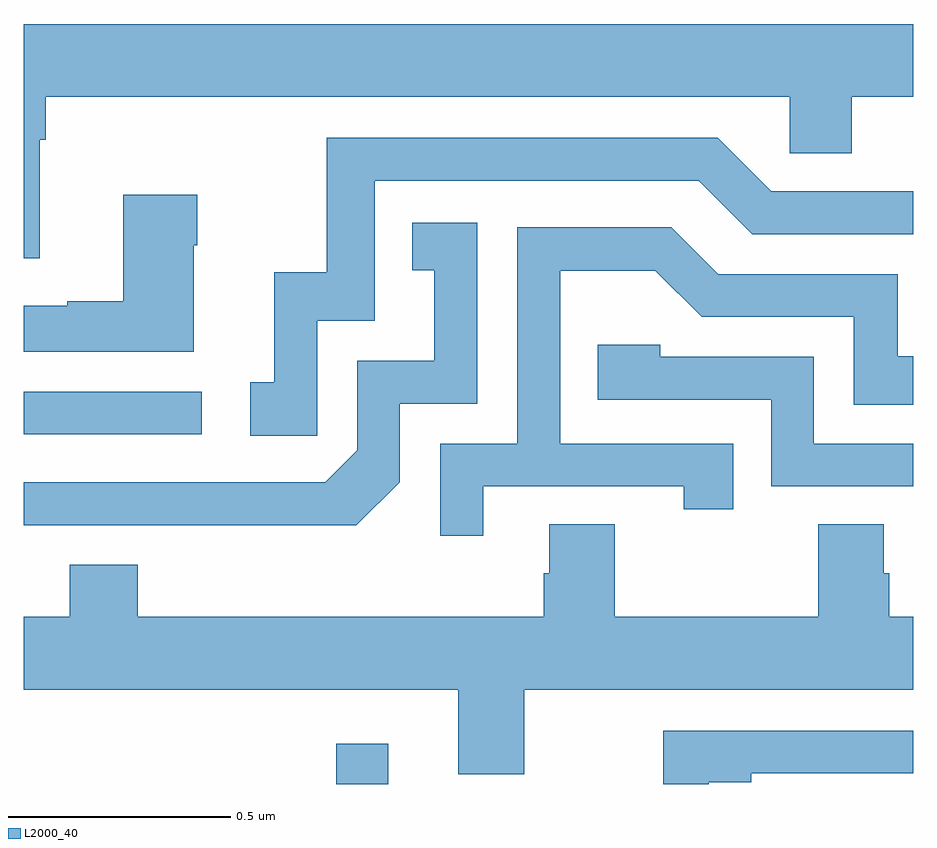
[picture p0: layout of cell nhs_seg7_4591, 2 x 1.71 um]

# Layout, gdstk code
import gdstk
lib = gdstk.Library(unit=1e-6, precision=1e-09)
def R(c, l, rs):  # rectangles x0, y0, x1, y1
    for r in rs: c.add(gdstk.rectangle(r[:2], r[2:], *l))
def P(c, l, *ps):  # polygons
    for p in ps: c.add(gdstk.Polygon(p, *l))
L2000_40 = (2000, 40)

nhs_seg7_4591 = lib.new_cell('nhs_seg7_4591')
R(nhs_seg7_4591, L2000_40, [(174.703,1071,174.82,1071.091), (174,1071.786,174.4,1071.882)])
P(nhs_seg7_4591, L2000_40, [(174.037,1072.448),(174.05,1072.448),(174.05,1072.544),(175.722,1072.544),(175.722,1072.417),(175.861,1072.417),(175.861,1072.544),(176,1072.544),(176,1072.708),(174,1072.708),(174,1072.182),(174.037,1072.182)],
  [(174.66,1072.041),(174.789,1072.041),(174.789,1072.356),(175.518,1072.356),(175.638,1072.236),(176,1072.236),(176,1072.332),(175.68,1072.332),(175.56,1072.452),(174.681,1072.452),(174.681,1072.15),(174.563,1072.15),(174.563,1071.903),(174.51,1071.903),(174.51,1071.783),(174.66,1071.783)],
  [(174.382,1072.211),(174.39,1072.211),(174.39,1072.324),(174.224,1072.324),(174.224,1072.085),(174.098,1072.085),(174.098,1072.075),(174,1072.075),(174,1071.971),(174.382,1071.971)],
  [(174.846,1071.678),(174.846,1071.855),(175.02,1071.855),(175.02,1072.261),(174.874,1072.261),(174.874,1072.155),(174.923,1072.155),(174.923,1071.951),(174.75,1071.951),(174.75,1071.75),(174.678,1071.678),(174,1071.678),(174,1071.582),(174.34,1071.582),(174.34,1071.581),(174.748,1071.581)],
  [(175.033,1071.669),(175.484,1071.669),(175.484,1071.618),(175.595,1071.618),(175.595,1071.765),(175.206,1071.765),(175.206,1072.154),(175.42,1072.154),(175.524,1072.05),(175.866,1072.05),(175.866,1071.852),(176,1071.852),(176,1071.961),(175.965,1071.961),(175.965,1072.146),(175.561,1072.146),(175.456,1072.251),(175.11,1072.251),(175.11,1071.765),(174.936,1071.765),(174.936,1071.558),(175.033,1071.558)],
  [(176,1071.765),(175.776,1071.765),(175.776,1071.96),(175.431,1071.96),(175.431,1071.987),(175.291,1071.987),(175.291,1071.864),(175.68,1071.864),(175.68,1071.669),(176,1071.669)],
  [(175.125,1071.212),(176,1071.212),(176,1071.376),(175.946,1071.376),(175.946,1071.474),(175.933,1071.474),(175.933,1071.584),(175.786,1071.584),(175.786,1071.376),(175.329,1071.376),(175.329,1071.584),(175.181,1071.584),(175.181,1071.474),(175.169,1071.474),(175.169,1071.376),(174.257,1071.376),(174.257,1071.493),(174.104,1071.493),(174.104,1071.376),(174,1071.376),(174,1071.212),(174.977,1071.212),(174.977,1071.022),(175.125,1071.022)],
  [(175.54,1071.004),(175.636,1071.004),(175.636,1071.024),(176,1071.024),(176,1071.12),(175.438,1071.12),(175.438,1071),(175.54,1071)])

lib.write_gds('nhs_seg7_4591.gds')
